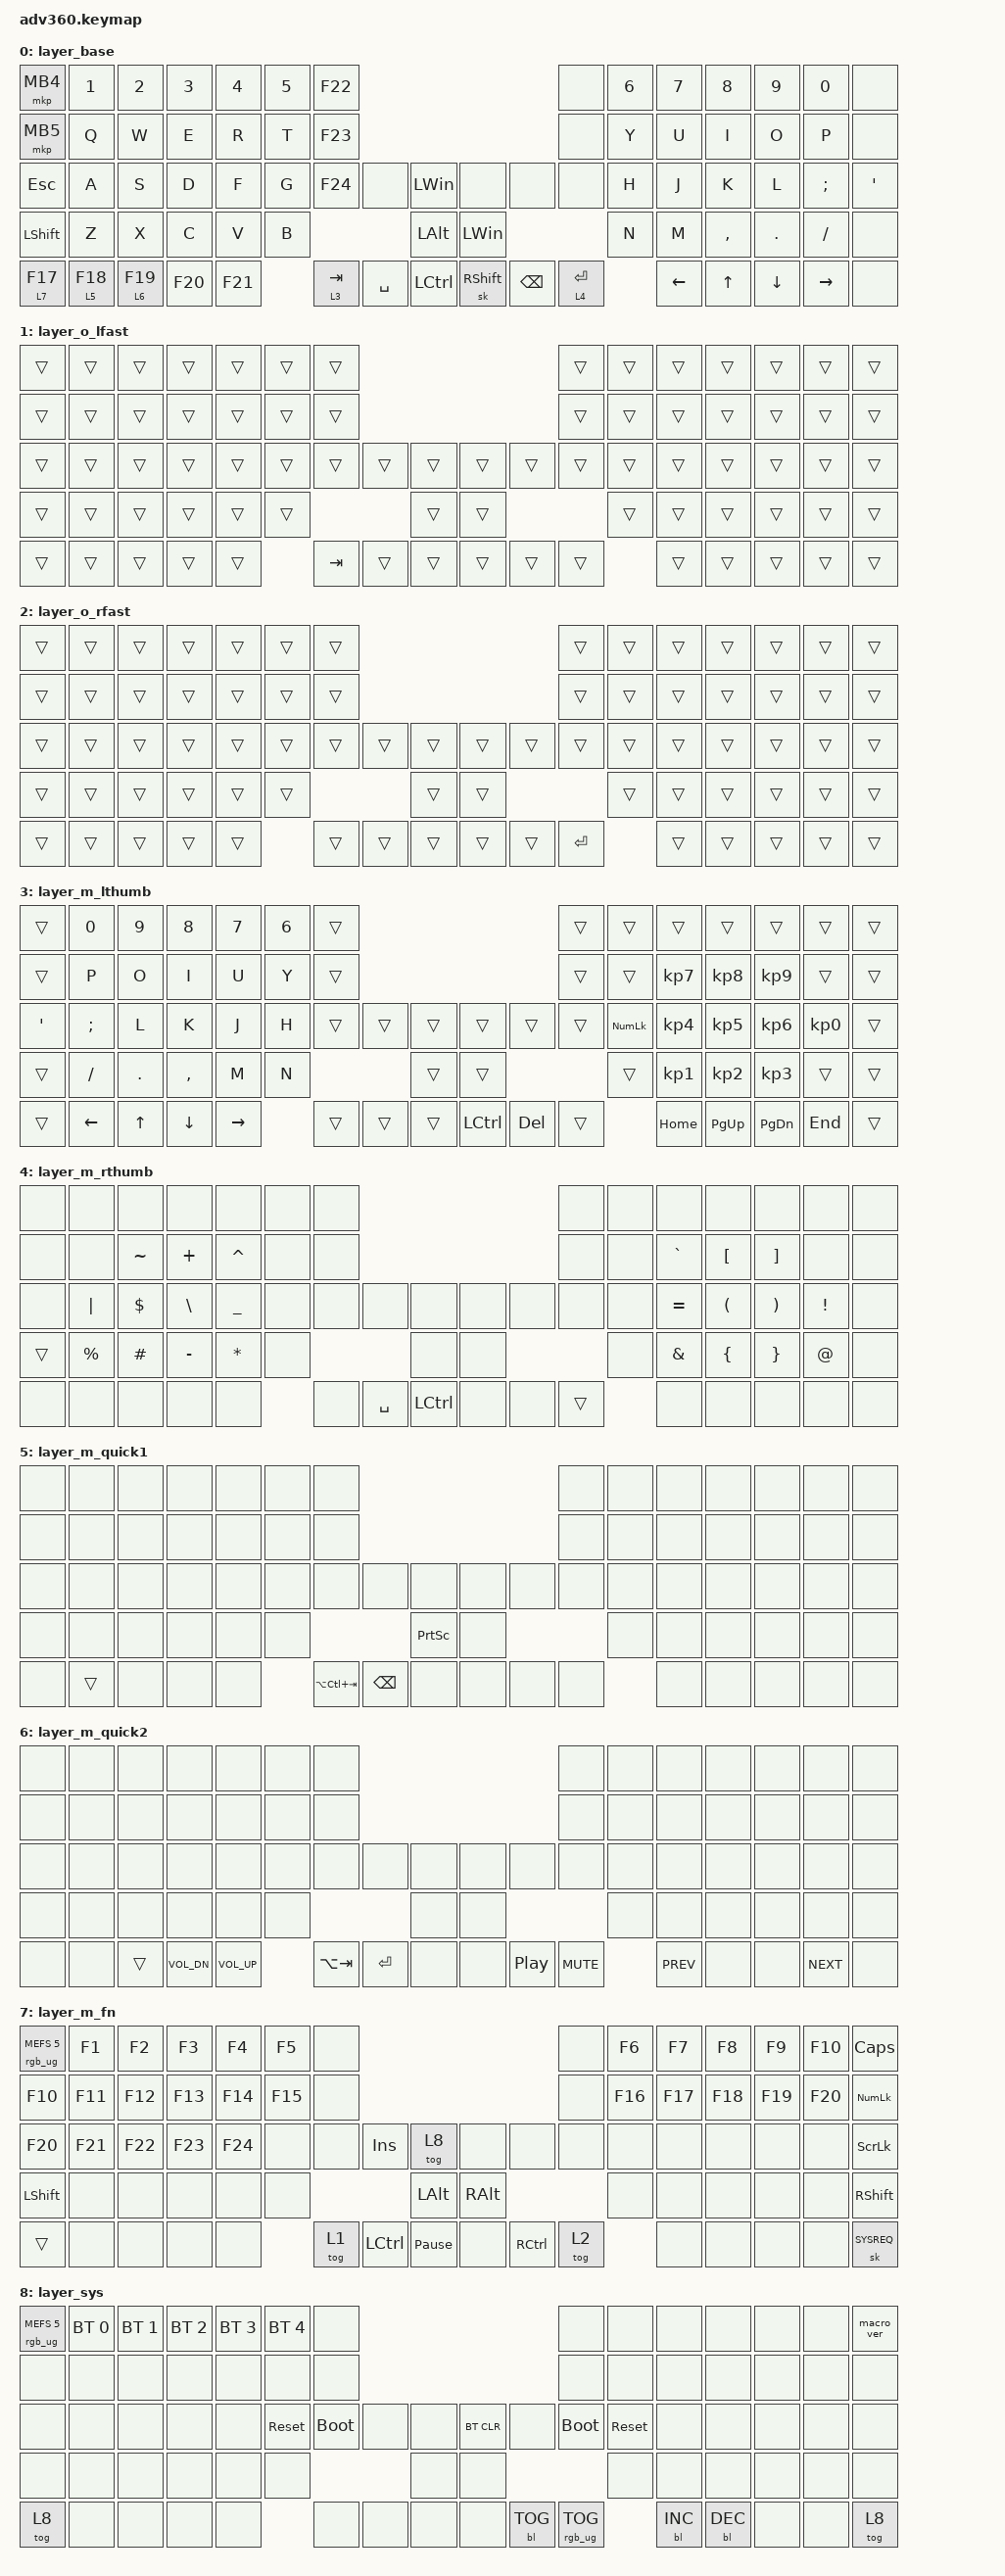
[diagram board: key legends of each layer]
/*
 * Copyright (c) 2020 The ZMK Contributors
 *
 * SPDX-License-Identifier: MIT
 */
/* THIS FILE WAS GENERATED!
 *
 * This file was generated automatically. You may or may not want to
 * edit it directly.
 */

#include <dt-bindings/zmk/mouse.h>
#include <behaviors.dtsi>
#include <dt-bindings/zmk/backlight.h>
#include <dt-bindings/zmk/bt.h>
#include <dt-bindings/zmk/keys.h>
/* #include <dt-bindings/zmk/pointing.h> */
#include <dt-bindings/zmk/rgb.h>

&sk { quick-release; };

/ {
    behaviors {
        #include "macros.dtsi"
        #include "version.dtsi"

        lt_hp: lt_hp {
            compatible = "zmk,behavior-hold-tap";
            label = "LT_HP";
            bindings = <&mo>, <&kp>;

            #binding-cells = <2>;
            tapping-term-ms = <200>;
            flavor = "hold-preferred";
        };

        mt_hwu: mt_hwu {
            compatible = "zmk,behavior-hold-tap";
            label = "MT_HWU";
            bindings = <&kp>, <&kp>;

            #binding-cells = <2>;
            tapping-term-ms = <200>;
            hold-while-undecided;
            flavor = "hold-preferred";
        };
    };

    combos { compatible = "zmk,combos"; };

    keymap {
        compatible = "zmk,keymap";

        layer_base {
            bindings = <
&mkp MB4   &kp N1     &kp N2     &kp N3   &kp N4   &kp N5  &kp F22                                                              &none           &kp N6  &kp N7    &kp N8     &kp N9    &kp N0     &none
&mkp MB5   &kp Q      &kp W      &kp E    &kp R    &kp T   &kp F23                                                              &none           &kp Y   &kp U     &kp I      &kp O     &kp P      &none
&kp ESC    &kp A      &kp S      &kp D    &kp F    &kp G   &kp F24       &none      &kp LEFT_WIN      &none      &none          &none           &kp H   &kp J     &kp K      &kp L     &kp SEMI   &kp SQT
&kp LSHFT  &kp Z      &kp X      &kp C    &kp V    &kp B                            &kp LALT          &kp LWIN                                  &kp N   &kp M     &kp COMMA  &kp DOT   &kp FSLH   &none
&lt 7 F17  &lt 5 F18  &lt 6 F19  &kp F20  &kp F21          &lt_hp 3 TAB  &kp SPACE  &kp LCTRL         &sk RSHFT  &kp BACKSPACE  &lt_hp 4 ENTER          &kp LEFT  &kp UP     &kp DOWN  &kp RIGHT  &none
            >;
        };

        layer_o_lfast {
            bindings = <
&trans  &trans  &trans  &trans  &trans  &trans  &trans                                       &trans  &trans  &trans  &trans  &trans  &trans  &trans
&trans  &trans  &trans  &trans  &trans  &trans  &trans                                       &trans  &trans  &trans  &trans  &trans  &trans  &trans
&trans  &trans  &trans  &trans  &trans  &trans  &trans   &trans  &trans      &trans  &trans  &trans  &trans  &trans  &trans  &trans  &trans  &trans
&trans  &trans  &trans  &trans  &trans  &trans                   &trans      &trans                  &trans  &trans  &trans  &trans  &trans  &trans
&trans  &trans  &trans  &trans  &trans          &kp TAB  &trans  &trans      &trans  &trans  &trans          &trans  &trans  &trans  &trans  &trans
            >;
        };

        layer_o_rfast {
            bindings = <
&trans  &trans  &trans  &trans  &trans  &trans  &trans                                      &trans     &trans  &trans  &trans  &trans  &trans  &trans
&trans  &trans  &trans  &trans  &trans  &trans  &trans                                      &trans     &trans  &trans  &trans  &trans  &trans  &trans
&trans  &trans  &trans  &trans  &trans  &trans  &trans  &trans  &trans      &trans  &trans  &trans     &trans  &trans  &trans  &trans  &trans  &trans
&trans  &trans  &trans  &trans  &trans  &trans                  &trans      &trans                     &trans  &trans  &trans  &trans  &trans  &trans
&trans  &trans  &trans  &trans  &trans          &trans  &trans  &trans      &trans  &trans  &kp ENTER          &trans  &trans  &trans  &trans  &trans
            >;
        };

        layer_m_lthumb {
            bindings = <
&trans   &kp N0    &kp N9   &kp N8     &kp N7     &kp N6  &trans                                          &trans  &trans      &trans     &trans     &trans     &trans     &trans
&trans   &kp P     &kp O    &kp I      &kp U      &kp Y   &trans                                          &trans  &trans      &kp KP_N7  &kp KP_N8  &kp KP_N9  &trans     &trans
&kp SQT  &kp SEMI  &kp L    &kp K      &kp J      &kp H   &trans  &trans  &trans      &trans     &trans   &trans  &kp KP_NUM  &kp KP_N4  &kp KP_N5  &kp KP_N6  &kp KP_N0  &trans
&trans   &kp FSLH  &kp DOT  &kp COMMA  &kp M      &kp N                   &trans      &trans                      &trans      &kp KP_N1  &kp KP_N2  &kp KP_N3  &trans     &trans
&trans   &kp LEFT  &kp UP   &kp DOWN   &kp RIGHT          &trans  &trans  &trans      &kp LCTRL  &kp DEL  &trans              &kp HOME   &kp PG_UP  &kp PG_DN  &kp END    &trans
            >;
        };

        layer_m_rthumb {
            bindings = <
&none   &none        &none       &none      &none      &none  &none                                          &none   &none  &none      &none     &none     &none     &none
&none   &none        &kp TILDE   &kp PLUS   &kp CARET  &none  &none                                          &none   &none  &kp GRAVE  &kp LBKT  &kp RBKT  &none     &none
&none   &kp PIPE     &kp DOLLAR  &kp BSLH   &kp UNDER  &none  &none  &none      &none          &none  &none  &none   &none  &kp EQUAL  &kp LPAR  &kp RPAR  &kp EXCL  &none
&trans  &kp PERCENT  &kp HASH    &kp MINUS  &kp ASTRK  &none                    &none          &none                 &none  &kp AMPS   &kp LBRC  &kp RBRC  &kp AT    &none
&none   &none        &none       &none      &none             &none  &kp SPACE  &kp LCTRL      &none  &none  &trans         &none      &none     &none     &none     &none
            >;
        };

        layer_m_quick1 {
            bindings = <
&none  &none   &none  &none  &none  &none  &none                                                              &none  &none  &none  &none  &none  &none  &none
&none  &none   &none  &none  &none  &none  &none                                                              &none  &none  &none  &none  &none  &none  &none
&none  &none   &none  &none  &none  &none  &none            &none          &none                &none  &none  &none  &none  &none  &none  &none  &none  &none
&none  &none   &none  &none  &none  &none                                  &kp PRINTSCREEN      &none                &none  &none  &none  &none  &none  &none
&none  &trans  &none  &none  &none         &kp LA(LC(TAB))  &kp BACKSPACE  &none                &none  &none  &none         &none  &none  &none  &none  &none
            >;
        };

        layer_m_quick2 {
            bindings = <
&none  &none  &none   &none         &none         &none  &none                                               &none       &none  &none       &none  &none  &none       &none
&none  &none  &none   &none         &none         &none  &none                                               &none       &none  &none       &none  &none  &none       &none
&none  &none  &none   &none         &none         &none  &none        &none      &none      &none  &none     &none       &none  &none       &none  &none  &none       &none
&none  &none  &none   &none         &none         &none                          &none      &none                        &none  &none       &none  &none  &none       &none
&none  &none  &trans  &kp C_VOL_DN  &kp C_VOL_UP         &kp LA(TAB)  &kp ENTER  &none      &none  &kp C_PP  &kp C_MUTE         &kp C_PREV  &none  &none  &kp C_NEXT  &none
            >;
        };

        layer_m_fn {
            bindings = <
&rgb_ug RGB_MEFS_CMD 5  &kp F1   &kp F2   &kp F3   &kp F4   &kp F5   &none                                                        &none   &kp F6   &kp F7   &kp F8   &kp F9   &kp F10  &kp CAPSLOCK
&kp F10                 &kp F11  &kp F12  &kp F13  &kp F14  &kp F15  &none                                                        &none   &kp F16  &kp F17  &kp F18  &kp F19  &kp F20  &kp KP_NUM
&kp F20                 &kp F21  &kp F22  &kp F23  &kp F24  &none    &none   &kp INS    &tog 8               &none     &none      &none   &none    &none    &none    &none    &none    &kp SCROLLLOCK
&kp LSHFT               &none    &none    &none    &none    &none                       &kp LALT             &kp RALT                     &none    &none    &none    &none    &none    &kp RSHFT
&trans                  &none    &none    &none    &none             &tog 1  &kp LCTRL  &kp PAUSE_BREAK      &none     &kp RCTRL  &tog 2           &none    &none    &none    &none    &sk SYSREQ
            >;
        };

        layer_sys {
            bindings = <
&rgb_ug RGB_MEFS_CMD 5  &bt BT_SEL 0  &bt BT_SEL 1  &bt BT_SEL 2  &bt BT_SEL 3  &bt BT_SEL 4  &none                                                  &none            &none       &none       &none       &none  &none  &macro_ver
&none                   &none         &none         &none         &none         &none         &none                                                  &none            &none       &none       &none       &none  &none  &none
&none                   &none         &none         &none         &none         &sys_reset    &bootloader  &none  &none      &bt BT_CLR  &none       &bootloader      &sys_reset  &none       &none       &none  &none  &none
&none                   &none         &none         &none         &none         &none                             &none      &none                                    &none       &none       &none       &none  &none  &none
&tog 8                  &none         &none         &none         &none                       &none        &none  &none      &none       &bl BL_TOG  &rgb_ug RGB_TOG              &bl BL_INC  &bl BL_DEC  &none  &none  &tog 8
            >;
        };
    };
};
